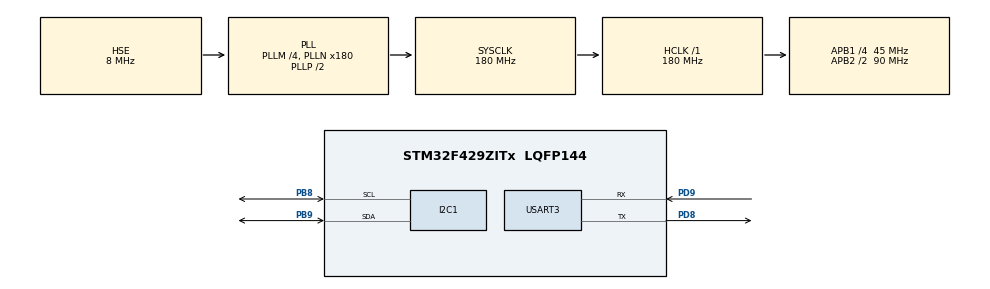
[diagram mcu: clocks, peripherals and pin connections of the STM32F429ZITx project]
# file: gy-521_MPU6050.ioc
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Mcu.Family=STM32F4
Mcu.Name=STM32F429ZITx
Mcu.Package=LQFP144
NVIC.PriorityGroup=NVIC_PRIORITYGROUP_4
PB8.Mode=I2C
PB8.Signal=I2C1_SCL
PB9.Mode=I2C
PB9.Signal=I2C1_SDA
PC14/OSC32_IN.Mode=LSE-External-Oscillator
PC14/OSC32_IN.Signal=RCC_OSC32_IN
PC15/OSC32_OUT.Mode=LSE-External-Oscillator
PC15/OSC32_OUT.Signal=RCC_OSC32_OUT
PD8.Mode=Asynchronous
PD8.Signal=USART3_TX
PD9.Mode=Asynchronous
PD9.Signal=USART3_RX
PH0/OSC_IN.Mode=HSE-External-Clock-Source
PH0/OSC_IN.Signal=RCC_OSC_IN
PH1/OSC_OUT.Mode=HSE-External-Clock-Source
PH1/OSC_OUT.Signal=RCC_OSC_OUT
ProjectManager.HeapSize=0x200
ProjectManager.StackSize=0x400
ProjectManager.TargetToolchain=STM32CubeIDE
RCC.48MHZClocksFreq_Value=51428571.428571425
RCC.AHBFreq_Value=180000000
RCC.APB1CLKDivider=RCC_HCLK_DIV4
RCC.APB1Freq_Value=45000000
RCC.APB1TimFreq_Value=90000000
RCC.APB2CLKDivider=RCC_HCLK_DIV2
RCC.APB2Freq_Value=90000000
RCC.APB2TimFreq_Value=180000000
RCC.CortexFreq_Value=180000000
RCC.HCLKFreq_Value=180000000
RCC.HSE_VALUE=8000000
RCC.HSI_VALUE=16000000
RCC.PLLM=4
RCC.PLLMUL=RCC_PLL_MUL9
RCC.PLLN=180
RCC.PLLQ=7
RCC.PLLSourceVirtual=RCC_PLLSOURCE_HSE
RCC.PRESCALERUSB=RCC_USBCLKSOURCE_PLL_DIV1_5
RCC.SYSCLKFreq_VALUE=180000000
RCC.SYSCLKSource=RCC_SYSCLKSOURCE_PLLCLK
RCC.SYSCLKSourceVirtual=RCC_SYSCLKSOURCE_PLLCLK
RCC.USBFreq_Value=48000000
RCC.VCOOutputFreq_Value=360000000
USART3.VirtualMode=VM_ASYNC
board=NUCLEO-F429ZI

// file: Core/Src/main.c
/* USER CODE BEGIN Header */
/**
  ******************************************************************************
  * @file           : main.c
  * @brief          : Main program body
  ******************************************************************************
  * @attention
  *
  * Copyright (c) 2025 STMicroelectronics.
  * All rights reserved.
  *
  * This software is licensed under terms that can be found in the LICENSE file
  * in the root directory of this software component.
  * If no LICENSE file comes with this software, it is provided AS-IS.
  *
  ******************************************************************************
  */
/* USER CODE END Header */
#include "main.h"

/* USER CODE BEGIN PD */
#define MPU_ADDR 0x68 << 1

#define MPU_DIV 0x19
#define MPU_CONFIG 0x1A
#define MPU_GYRO_CONFIG 0x1B
#define MPU_ACCEL_CONFIG 0x1C
#define MPU_XOUT_H 0x3B
#define MPU_TEMP 0X65
#define MPU_X_OUT 0x43
#define MPU_PWR 0x6B
#define MPU_WHO_AM_I 0x75

uint16_t uart_buf[50];

int16_t ACCEL_X_RAW, ACCEL_Y_RAW, ACCEL_Z_RAW = 0;
int16_t Gyro_X_RAW,Gyro_Y_RAW,Gyro_Z_RAW = 0;

float X_Accel, Y_Accel,Z_Accel;
float X_Gyro,Y_Gyro,Z_Gyro;

/* USER CODE END PD */

I2C_HandleTypeDef hi2c1;

UART_HandleTypeDef huart3;

void SystemClock_Config(void);
static void MX_GPIO_Init(void);
static void MX_USART3_UART_Init(void);
static void MX_I2C1_Init(void);

/* USER CODE BEGIN 0 */
void MPU_Init(void){
 uint8_t check, value;

 HAL_I2C_Mem_Read(&hi2c1,MPU_ADDR,MPU_WHO_AM_I,1,&check,1,1000);

 if(check == 104){
	 value = 0;
	 HAL_I2C_Mem_Write(&hi2c1,MPU_ADDR,MPU_PWR,1,&value,1,1000);

	 value = 0x07;
	 HAL_I2C_Mem_Write(&hi2c1,MPU_ADDR,MPU_DIV,1,&value,1,1000);

	 value = 0x00;
	 HAL_I2C_Mem_Write(&hi2c1,MPU_ADDR,MPU_GYRO_CONFIG,1,&value,1,1000);

	 value = 0x00;
	 HAL_I2C_Mem_Write(&hi2c1,MPU_ADDR,MPU_ACCEL_CONFIG,1,&value,1,1000);

 }
}
void MPU_Read_ACCEL(void){
	uint8_t value_arr [6];

	HAL_I2C_Mem_Read(&hi2c1,MPU_ADDR,MPU_XOUT_H,1,value_arr,6,1000);

	ACCEL_X_RAW = (int16_t)(value_arr [0]<<8 | value_arr[1]);
	ACCEL_Y_RAW = (int16_t)(value_arr [2]<<8 | value_arr[3]);
	ACCEL_Z_RAW = (int16_t)(value_arr [4]<<8 | value_arr[5]);

	X_Accel = (float)ACCEL_X_RAW/16384.0;
	Y_Accel = (float)ACCEL_Y_RAW/16384.0;
    Z_Accel = (float)ACCEL_Z_RAW/16384.0;
}

void MPU_Read_Gyro(void){
	uint8_t value_arr [6];

	HAL_I2C_Mem_Read(&hi2c1, MPU_ADDR,MPU_XOUT_H,1,value_arr,6,1000);

	Gyro_X_RAW = (int16_t)(value_arr [0]<<8 | value_arr[1]);
	Gyro_Y_RAW = (int16_t)(value_arr [2]<<8 | value_arr[3]);
	Gyro_Z_RAW = (int16_t)(value_arr [4]<<8 | value_arr[5]);

	X_Gyro = (float)Gyro_X_RAW/131.0;
	Y_Gyro = (float)Gyro_Y_RAW/131.0;
	Z_Gyro = (float)Gyro_Z_RAW/131.0;
}
/* USER CODE END 0 */

int main(void)
{

  /* MCU Configuration--------------------------------------------------------*/

  /* Reset of all peripherals, Initializes the Flash interface and the Systick. */
  HAL_Init();

  /* Configure the system clock */
  SystemClock_Config();

  /* Initialize all configured peripherals */
  MX_GPIO_Init();
  MX_USART3_UART_Init();
  MX_I2C1_Init();
  /* USER CODE BEGIN 2 */
   MPU_Init();

  /* USER CODE END 2 */

  /* Infinite loop */
  while (1)
  {
   MPU_Read_ACCEL();
   MPU_Read_Gyro();

   sprintf(uart_buf,"AX = %.2f,AY = %.2f,AZ = %.2f\r\n, GX = %.2f, GY = %.2f, GZ = %.2f\r\n, ",X_Accel,Y_Accel,Z_Accel,X_Gyro,Y_Gyro,Z_Gyro);

   HAL_UART_Transmit(&huart3,uart_buf,sizeof(uart_buf),0xFFFF);
   HAL_Delay(1000);

  }
}

void SystemClock_Config(void)
{
  RCC_OscInitTypeDef RCC_OscInitStruct = {0};
  RCC_ClkInitTypeDef RCC_ClkInitStruct = {0};

  /** Configure the main internal regulator output voltage
  */
  __HAL_RCC_PWR_CLK_ENABLE();
  __HAL_PWR_VOLTAGESCALING_CONFIG(PWR_REGULATOR_VOLTAGE_SCALE1);

  /** Initializes the RCC Oscillators according to the specified parameters
  * in the RCC_OscInitTypeDef structure.
  */
  RCC_OscInitStruct.OscillatorType = RCC_OSCILLATORTYPE_HSE;
  RCC_OscInitStruct.HSEState = RCC_HSE_BYPASS;
  RCC_OscInitStruct.PLL.PLLState = RCC_PLL_ON;
  RCC_OscInitStruct.PLL.PLLSource = RCC_PLLSOURCE_HSE;
  RCC_OscInitStruct.PLL.PLLM = 4;
  RCC_OscInitStruct.PLL.PLLN = 180;
  RCC_OscInitStruct.PLL.PLLP = RCC_PLLP_DIV2;
  RCC_OscInitStruct.PLL.PLLQ = 7;
  if (HAL_RCC_OscConfig(&RCC_OscInitStruct) != HAL_OK)
  {
    Error_Handler();
  }

  /** Activate the Over-Drive mode
  */
  if (HAL_PWREx_EnableOverDrive() != HAL_OK)
  {
    Error_Handler();
  }

  /** Initializes the CPU, AHB and APB buses clocks
  */
  RCC_ClkInitStruct.ClockType = RCC_CLOCKTYPE_HCLK|RCC_CLOCKTYPE_SYSCLK
                              |RCC_CLOCKTYPE_PCLK1|RCC_CLOCKTYPE_PCLK2;
  RCC_ClkInitStruct.SYSCLKSource = RCC_SYSCLKSOURCE_PLLCLK;
  RCC_ClkInitStruct.AHBCLKDivider = RCC_SYSCLK_DIV1;
  RCC_ClkInitStruct.APB1CLKDivider = RCC_HCLK_DIV4;
  RCC_ClkInitStruct.APB2CLKDivider = RCC_HCLK_DIV2;

  if (HAL_RCC_ClockConfig(&RCC_ClkInitStruct, FLASH_LATENCY_5) != HAL_OK)
  {
    Error_Handler();
  }
}

static void MX_I2C1_Init(void)
{

  hi2c1.Instance = I2C1;
  hi2c1.Init.ClockSpeed = 100000;
  hi2c1.Init.DutyCycle = I2C_DUTYCYCLE_2;
  hi2c1.Init.OwnAddress1 = 0;
  hi2c1.Init.AddressingMode = I2C_ADDRESSINGMODE_7BIT;
  hi2c1.Init.DualAddressMode = I2C_DUALADDRESS_DISABLE;
  hi2c1.Init.OwnAddress2 = 0;
  hi2c1.Init.GeneralCallMode = I2C_GENERALCALL_DISABLE;
  hi2c1.Init.NoStretchMode = I2C_NOSTRETCH_DISABLE;
  if (HAL_I2C_Init(&hi2c1) != HAL_OK)
  {
    Error_Handler();
  }

  /** Configure Analogue filter
  */
  if (HAL_I2CEx_ConfigAnalogFilter(&hi2c1, I2C_ANALOGFILTER_ENABLE) != HAL_OK)
  {
    Error_Handler();
  }

  /** Configure Digital filter
  */
  if (HAL_I2CEx_ConfigDigitalFilter(&hi2c1, 0) != HAL_OK)
  {
    Error_Handler();
  }

}

static void MX_USART3_UART_Init(void)
{

  huart3.Instance = USART3;
  huart3.Init.BaudRate = 115200;
  huart3.Init.WordLength = UART_WORDLENGTH_8B;
  huart3.Init.StopBits = UART_STOPBITS_1;
  huart3.Init.Parity = UART_PARITY_NONE;
  huart3.Init.Mode = UART_MODE_TX_RX;
  huart3.Init.HwFlowCtl = UART_HWCONTROL_NONE;
  huart3.Init.OverSampling = UART_OVERSAMPLING_16;
  if (HAL_UART_Init(&huart3) != HAL_OK)
  {
    Error_Handler();
  }

}

static void MX_GPIO_Init(void)
{

  /* GPIO Ports Clock Enable */
  __HAL_RCC_GPIOC_CLK_ENABLE();
  __HAL_RCC_GPIOH_CLK_ENABLE();
  __HAL_RCC_GPIOD_CLK_ENABLE();
  __HAL_RCC_GPIOB_CLK_ENABLE();

}

void Error_Handler(void)
{
  __disable_irq();
  while (1)
  {
  }
}
